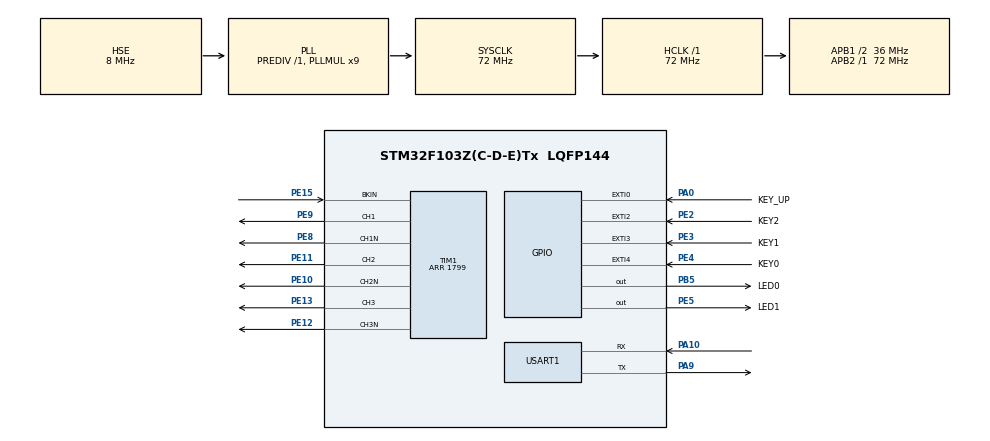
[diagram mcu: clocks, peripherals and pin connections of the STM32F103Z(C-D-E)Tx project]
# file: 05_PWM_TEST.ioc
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Dma.Request0=USART1_TX
Dma.Request1=USART1_RX
Dma.USART1_RX.1.Direction=DMA_PERIPH_TO_MEMORY
Dma.USART1_RX.1.Instance=DMA1_Channel5
Dma.USART1_RX.1.MemDataAlignment=DMA_MDATAALIGN_BYTE
Dma.USART1_RX.1.MemInc=DMA_MINC_ENABLE
Dma.USART1_RX.1.Mode=DMA_NORMAL
Dma.USART1_RX.1.PeriphDataAlignment=DMA_PDATAALIGN_BYTE
Dma.USART1_RX.1.PeriphInc=DMA_PINC_DISABLE
Dma.USART1_RX.1.Priority=DMA_PRIORITY_LOW
Dma.USART1_TX.0.Direction=DMA_MEMORY_TO_PERIPH
Dma.USART1_TX.0.Instance=DMA1_Channel4
Dma.USART1_TX.0.MemDataAlignment=DMA_MDATAALIGN_BYTE
Dma.USART1_TX.0.MemInc=DMA_MINC_ENABLE
Dma.USART1_TX.0.Mode=DMA_NORMAL
Dma.USART1_TX.0.PeriphDataAlignment=DMA_PDATAALIGN_BYTE
Dma.USART1_TX.0.PeriphInc=DMA_PINC_DISABLE
Dma.USART1_TX.0.Priority=DMA_PRIORITY_LOW
Mcu.Family=STM32F1
Mcu.Name=STM32F103Z(C-D-E)Tx
Mcu.Package=LQFP144
NVIC.DMA1_Channel4_IRQn=true\:0\:0\:false\:false\:true\:false\:true\:true
NVIC.DMA1_Channel5_IRQn=true\:0\:0\:false\:false\:true\:false\:true\:true
NVIC.EXTI0_IRQn=true\:4\:0\:true\:false\:true\:true\:true\:true
NVIC.EXTI2_IRQn=true\:4\:0\:true\:false\:true\:true\:true\:true
NVIC.EXTI3_IRQn=true\:4\:0\:true\:false\:true\:true\:true\:true
NVIC.EXTI4_IRQn=true\:4\:0\:true\:false\:true\:true\:true\:true
NVIC.PriorityGroup=NVIC_PRIORITYGROUP_4
NVIC.TIM1_BRK_IRQn=true\:0\:0\:false\:false\:true\:true\:true\:true
NVIC.TIM6_IRQn=true\:0\:0\:true\:false\:true\:true\:true\:true
NVIC.USART1_IRQn=true\:0\:0\:false\:false\:true\:true\:true\:true
OSC_IN.Mode=HSE-External-Oscillator
OSC_IN.Signal=RCC_OSC_IN
OSC_OUT.Mode=HSE-External-Oscillator
OSC_OUT.Signal=RCC_OSC_OUT
PA0-WKUP.GPIO_Label=KEY_UP
PA0-WKUP.GPIO_ModeDefaultEXTI=GPIO_MODE_IT_RISING_FALLING
PA0-WKUP.GPIO_PuPd=GPIO_PULLDOWN
PA0-WKUP.Signal=GPXTI0
PA10.Mode=Asynchronous
PA10.Signal=USART1_RX
PA13.Mode=Serial_Wire
PA13.Signal=SYS_JTMS-SWDIO
PA14.Mode=Serial_Wire
PA14.Signal=SYS_JTCK-SWCLK
PA9.Mode=Asynchronous
PA9.Signal=USART1_TX
PB5.GPIO_Label=LED0
PB5.GPIO_PuPd=GPIO_NOPULL
PB5.PinState=GPIO_PIN_SET
PB5.Signal=GPIO_Output
PC14-OSC32_IN.Mode=LSE-External-Oscillator
PC14-OSC32_IN.Signal=RCC_OSC32_IN
PC15-OSC32_OUT.Mode=LSE-External-Oscillator
PC15-OSC32_OUT.Signal=RCC_OSC32_OUT
PE10.Mode=PWM Generation2 CH2 CH2N
PE10.Signal=TIM1_CH2N
PE11.Signal=S_TIM1_CH2
PE12.Mode=PWM Generation3 CH3 CH3N
PE12.Signal=TIM1_CH3N
PE13.Signal=S_TIM1_CH3
PE15.Mode=Activate-Break-Input
PE15.Signal=TIM1_BKIN
PE2.GPIO_Label=KEY2
PE2.GPIO_ModeDefaultEXTI=GPIO_MODE_IT_RISING_FALLING
PE2.GPIO_PuPd=GPIO_PULLUP
PE2.Signal=GPXTI2
PE3.GPIO_Label=KEY1
PE3.GPIO_ModeDefaultEXTI=GPIO_MODE_IT_RISING_FALLING
PE3.GPIO_PuPd=GPIO_PULLUP
PE3.Signal=GPXTI3
PE4.GPIO_Label=KEY0
PE4.GPIO_ModeDefaultEXTI=GPIO_MODE_IT_RISING_FALLING
PE4.GPIO_PuPd=GPIO_PULLUP
PE4.Signal=GPXTI4
PE5.GPIO_Label=LED1
PE5.PinState=GPIO_PIN_SET
PE5.Signal=GPIO_Output
PE8.Mode=PWM Generation1 CH1 CH1N
PE8.Signal=TIM1_CH1N
PE9.Signal=S_TIM1_CH1
ProjectManager.HeapSize=0x200
ProjectManager.StackSize=0x400
ProjectManager.TargetToolchain=MDK-ARM V5
RCC.AHBFreq_Value=72000000
RCC.APB1CLKDivider=RCC_HCLK_DIV2
RCC.APB1Freq_Value=36000000
RCC.APB1TimFreq_Value=72000000
RCC.APB2Freq_Value=72000000
RCC.APB2TimFreq_Value=72000000
RCC.HCLKFreq_Value=72000000
RCC.PLLMUL=RCC_PLL_MUL9
RCC.PLLSourceVirtual=RCC_PLLSOURCE_HSE
RCC.SYSCLKFreq_VALUE=72000000
RCC.SYSCLKSource=RCC_SYSCLKSOURCE_PLLCLK
RCC.USBFreq_Value=72000000
SH.S_TIM1_CH1.0=TIM1_CH1,PWM Generation1 CH1 CH1N
SH.S_TIM1_CH2.0=TIM1_CH2,PWM Generation2 CH2 CH2N
SH.S_TIM1_CH3.0=TIM1_CH3,PWM Generation3 CH3 CH3N
TIM1.AutoReloadPreload=TIM_AUTORELOAD_PRELOAD_DISABLE
TIM1.BreakPolarity=TIM_BREAKPOLARITY_HIGH
TIM1.BreakState=TIM_BREAK_DISABLE
TIM1.Channel-PWM\ Generation1\ CH1\ CH1N=TIM_CHANNEL_1
TIM1.Channel-PWM\ Generation2\ CH2\ CH2N=TIM_CHANNEL_2
TIM1.Channel-PWM\ Generation3\ CH3\ CH3N=TIM_CHANNEL_3
TIM1.CounterMode=TIM_COUNTERMODE_CENTERALIGNED1
TIM1.DeadTime=100
TIM1.OCIdleState_1=TIM_OCIDLESTATE_SET
TIM1.OCIdleState_2=TIM_OCIDLESTATE_SET
TIM1.OCIdleState_3=TIM_OCIDLESTATE_SET
TIM1.OffStateIDLEMode=TIM_OSSI_DISABLE
TIM1.OffStateRunMode=TIM_OSSR_DISABLE
TIM1.Period=1799
TIM1.TIM_MasterOutputTrigger=TIM_TRGO_OC4REF
TIM6.AutoReloadPreload=TIM_AUTORELOAD_PRELOAD_ENABLE
TIM6.Period=99
TIM6.Prescaler=71
TIM6.TIM_MasterOutputTrigger=TIM_TRGO_UPDATE
USART1.VirtualMode=VM_ASYNC
VP_TIM1_VS_ClockSourceINT.Mode=Internal
VP_TIM6_VS_ClockSourceINT.Mode=Enable_Timer
board=custom

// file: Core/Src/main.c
/* USER CODE BEGIN Header */
/**
  ******************************************************************************
  * @file           : main.c
  * @brief          : Main program body
  ******************************************************************************
  * @attention
  *
  * Copyright (c) 2025 STMicroelectronics.
  * All rights reserved.
  *
  * This software is licensed under terms that can be found in the LICENSE file
  * in the root directory of this software component.
  * If no LICENSE file comes with this software, it is provided AS-IS.
  *
  ******************************************************************************
  */
/* USER CODE END Header */
#include "main.h"
#include "dma.h"
#include "tim.h"
#include "usart.h"
#include "gpio.h"

/* USER CODE BEGIN Includes */
#include "debug.h"
/* USER CODE END Includes */

void SystemClock_Config(void);

int main(void)
{

  /* USER CODE BEGIN 1 */
	uint8_t x = 10;
  /* USER CODE END 1 */

  /* MCU Configuration--------------------------------------------------------*/

  /* Reset of all peripherals, Initializes the Flash interface and the Systick. */
  HAL_Init();

  /* Configure the system clock */
  SystemClock_Config();

  /* Initialize all configured peripherals */
  MX_GPIO_Init();
  MX_DMA_Init();
  MX_TIM6_Init();
  MX_USART1_UART_Init();
  MX_TIM1_Init();
  /* USER CODE BEGIN 2 */
	__HAL_TIM_ENABLE(&htim6);
	__HAL_TIM_ENABLE_IT(&htim6, TIM_IT_UPDATE);

	HAL_TIM_PWM_Start (&htim1, TIM_CHANNEL_1);
	HAL_TIM_PWM_Start (&htim1, TIM_CHANNEL_2);
	HAL_TIM_PWM_Start (&htim1, TIM_CHANNEL_3);
	HAL_TIMEx_PWMN_Start(&htim1, TIM_CHANNEL_1);
	HAL_TIMEx_PWMN_Start(&htim1, TIM_CHANNEL_2);
	HAL_TIMEx_PWMN_Start(&htim1, TIM_CHANNEL_3);

  /* USER CODE END 2 */

  /* Infinite loop */
  /* USER CODE BEGIN WHILE */
  while (1)
  {
		debug("%d\n", x);
		__HAL_TIM_SET_COMPARE(&htim1, TIM_CHANNEL_1, 500);
		__HAL_TIM_SET_COMPARE(&htim1, TIM_CHANNEL_2, 1000);
		__HAL_TIM_SET_COMPARE(&htim1, TIM_CHANNEL_3, 1500);
		HAL_Delay(100);
    /* USER CODE END WHILE */

  }
}

void SystemClock_Config(void)
{
  RCC_OscInitTypeDef RCC_OscInitStruct = {0};
  RCC_ClkInitTypeDef RCC_ClkInitStruct = {0};

  /** Initializes the RCC Oscillators according to the specified parameters
  * in the RCC_OscInitTypeDef structure.
  */
  RCC_OscInitStruct.OscillatorType = RCC_OSCILLATORTYPE_HSE;
  RCC_OscInitStruct.HSEState = RCC_HSE_ON;
  RCC_OscInitStruct.HSEPredivValue = RCC_HSE_PREDIV_DIV1;
  RCC_OscInitStruct.HSIState = RCC_HSI_ON;
  RCC_OscInitStruct.PLL.PLLState = RCC_PLL_ON;
  RCC_OscInitStruct.PLL.PLLSource = RCC_PLLSOURCE_HSE;
  RCC_OscInitStruct.PLL.PLLMUL = RCC_PLL_MUL9;
  if (HAL_RCC_OscConfig(&RCC_OscInitStruct) != HAL_OK)
  {
    Error_Handler();
  }

  /** Initializes the CPU, AHB and APB buses clocks
  */
  RCC_ClkInitStruct.ClockType = RCC_CLOCKTYPE_HCLK|RCC_CLOCKTYPE_SYSCLK
                              |RCC_CLOCKTYPE_PCLK1|RCC_CLOCKTYPE_PCLK2;
  RCC_ClkInitStruct.SYSCLKSource = RCC_SYSCLKSOURCE_PLLCLK;
  RCC_ClkInitStruct.AHBCLKDivider = RCC_SYSCLK_DIV1;
  RCC_ClkInitStruct.APB1CLKDivider = RCC_HCLK_DIV2;
  RCC_ClkInitStruct.APB2CLKDivider = RCC_HCLK_DIV1;

  if (HAL_RCC_ClockConfig(&RCC_ClkInitStruct, FLASH_LATENCY_2) != HAL_OK)
  {
    Error_Handler();
  }
}

void Error_Handler(void)
{
  __disable_irq();
  while (1)
  {
  }
}
